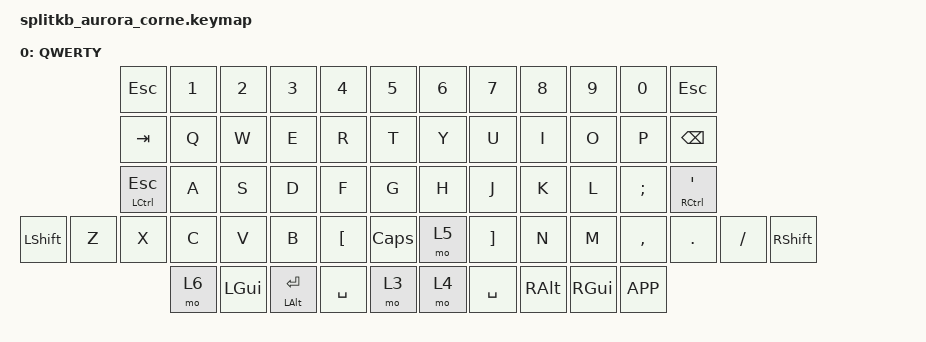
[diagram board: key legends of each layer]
/*
 * Copyright (c) 2020 The ZMK Contributors
 *
 * SPDX-License-Identifier: MIT
 */

#include <behaviors.dtsi>
#include <dt-bindings/zmk/keys.h>
#include <dt-bindings/zmk/bt.h>

/ {
        keymap {
                compatible = "zmk,keymap";

        // ─────────────────────────────
        //  BASE LAYER: QWERTY
        // ─────────────────────────────
        qwerty_layer {
            display-name = "QWERTY";
            bindings = <
        /* Row 1 */  &kp ESC   &kp N1    &kp N2     &kp N3     &kp N4     &kp N5            &kp N6     &kp N7     &kp N8     &kp N9     &kp N0    &kp ESC
        /* Row 2 */  &kp TAB   &kp Q     &kp W      &kp E      &kp R      &kp T             &kp Y      &kp U      &kp I      &kp O      &kp P     &kp BSPC
        /* Row 3 */  &mt LCTRL ESC   &kp A  &kp S  &kp D  &kp F  &kp G     &kp H  &kp J  &kp K  &kp L  &kp SEMI  &mt RCTRL SQT
        /* Row 4 */  &kp LSHFT &kp Z &kp X &kp C &kp V &kp B &kp LBKT &kp CAPS   &mo 5  &kp RBKT   &kp N &kp M &kp COMMA &kp DOT &kp FSLH &kp RSHFT
        /* Thumbs */ &mo 6   &kp LGUI   &mt LALT RET   &kp SPACE  &mo 3      &mo 4   &kp SPACE  &kp RALT   &kp RGUI  &kp K_APP
            >;
        };
                
        };
};
